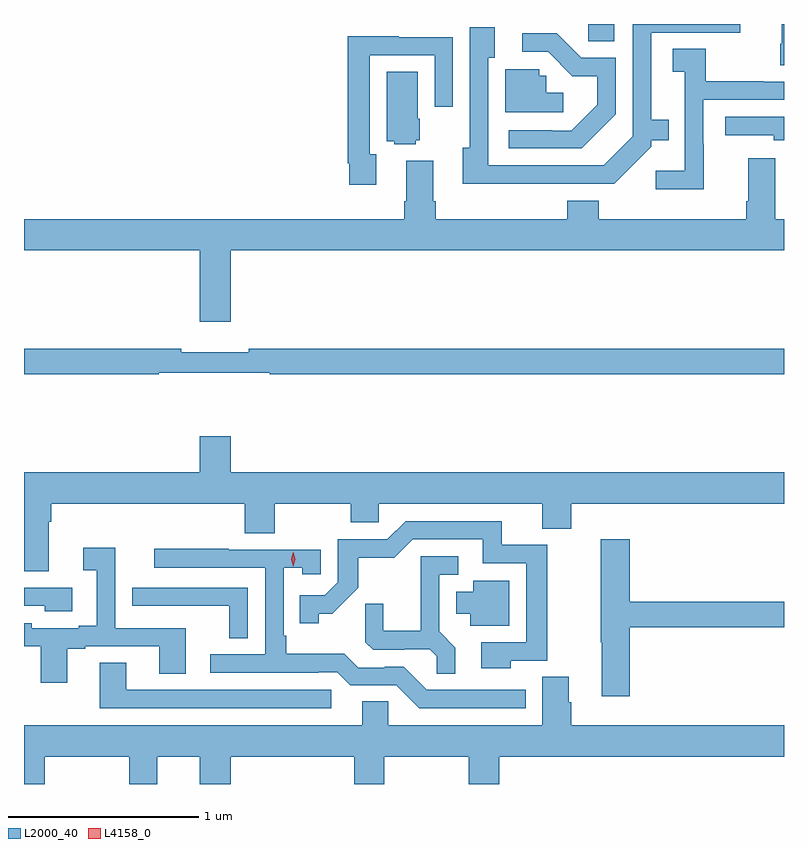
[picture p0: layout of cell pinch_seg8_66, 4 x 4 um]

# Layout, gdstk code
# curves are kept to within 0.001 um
import gdstk
lib = gdstk.Library(unit=1e-6, precision=1e-09)
def R(c, l, rs):  # rectangles x0, y0, x1, y1
    for r in rs: c.add(gdstk.rectangle(r[:2], r[2:], *l))
def P(c, l, *ps):  # polygons
    for p in ps: c.add(gdstk.Polygon(p, *l))
L2000_40 = (2000, 40)
L4158_0 = (4158, 0)

pinch_seg8_66 = lib.new_cell('pinch_seg8_66')
R(pinch_seg8_66, L2000_40, [(898.321,1120.264,898.459,1120.356)])
P(pinch_seg8_66, L2000_40, [(898.127,1119.516),(898.458,1119.516),(898.653,1119.711),(898.653,1119.743),(898.745,1119.743),(898.745,1119.853),(898.654,1119.853),(898.654,1120.311),(899.122,1120.311),(899.122,1120.356),(898.557,1120.356),(898.557,1119.765),(898.404,1119.612),(897.795,1119.612),(897.795,1120.178),(897.829,1120.178),(897.829,1120.339),(897.699,1120.339),(897.699,1119.706),(897.662,1119.706),(897.662,1119.515)],
  [(899.352,1120.356),(899.339,1120.356),(899.339,1120.252),(899.332,1120.252),(899.332,1120.14),(899.352,1120.14)],
  [(898.467,1119.881),(898.467,1120.179),(898.284,1120.179),(898.156,1120.307),(897.975,1120.307),(897.975,1120.209),(898.11,1120.209),(898.237,1120.082),(898.37,1120.082),(898.37,1119.932),(898.233,1119.795),(898.133,1119.795),(898.133,1119.798),(897.903,1119.798),(897.903,1119.702),(898.288,1119.702)],
  [(897.205,1119.671),(897.171,1119.671),(897.171,1120.191),(897.513,1120.191),(897.513,1119.921),(897.609,1119.921),(897.609,1120.287),(897.325,1120.287),(897.325,1120.291),(897.055,1120.291),(897.055,1119.622),(897.063,1119.622),(897.063,1119.51),(897.205,1119.51)],
  [(898.929,1119.725),(898.926,1119.725),(898.926,1119.957),(899.352,1119.957),(899.352,1120.053),(899.243,1120.053),(899.243,1120.056),(898.939,1120.056),(898.939,1120.226),(898.767,1120.226),(898.767,1120.105),(898.83,1120.105),(898.83,1119.583),(898.677,1119.583),(898.677,1119.485),(898.929,1119.485)],
  [(898.189,1119.994),(898.101,1119.994),(898.101,1120.083),(898.065,1120.083),(898.065,1120.119),(897.884,1120.119),(897.884,1119.891),(898.189,1119.891)],
  [(897.414,1119.744),(897.436,1119.744),(897.436,1119.858),(897.424,1119.858),(897.424,1120.106),(897.26,1120.106),(897.26,1119.74),(897.3,1119.74),(897.3,1119.722),(897.414,1119.722)],
  [(899.352,1119.867),(899.043,1119.867),(899.043,1119.771),(899.298,1119.771),(899.298,1119.744),(899.352,1119.744)],
  [(896.44,1119.164),(899.352,1119.164),(899.352,1119.328),(899.305,1119.328),(899.305,1119.649),(899.165,1119.649),(899.165,1119.424),(899.153,1119.424),(899.153,1119.328),(898.376,1119.328),(898.376,1119.427),(898.211,1119.427),(898.211,1119.328),(897.518,1119.328),(897.518,1119.424),(897.505,1119.424),(897.505,1119.637),(897.365,1119.637),(897.365,1119.424),(897.353,1119.424),(897.353,1119.328),(895.352,1119.328),(895.352,1119.164),(896.276,1119.164),(896.276,1118.79),(896.44,1118.79)],
  [(896.06,1118.52),(896.645,1118.52),(896.645,1118.512),(899.352,1118.512),(899.352,1118.648),(896.536,1118.648),(896.536,1118.629),(896.18,1118.629),(896.18,1118.648),(895.352,1118.648),(895.352,1118.512),(896.06,1118.512)],
  [(896.44,1118.185),(896.276,1118.185),(896.276,1117.996),(895.352,1117.996),(895.352,1117.476),(895.483,1117.476),(895.483,1117.736),(895.496,1117.736),(895.496,1117.832),(896.513,1117.832),(896.513,1117.675),(896.673,1117.675),(896.673,1117.832),(897.073,1117.832),(897.073,1117.734),(897.219,1117.734),(897.219,1117.832),(898.079,1117.832),(898.079,1117.699),(898.232,1117.699),(898.232,1117.832),(899.352,1117.832),(899.352,1117.996),(896.44,1117.996)],
  [(897.915,1117.005),(898.105,1117.005),(898.105,1117.614),(897.866,1117.614),(897.866,1117.74),(897.36,1117.74),(897.264,1117.644),(897.003,1117.644),(897.003,1117.419),(896.934,1117.35),(896.803,1117.35),(896.803,1117.203),(896.904,1117.203),(896.904,1117.253),(896.974,1117.253),(897.112,1117.39),(897.112,1117.546),(897.301,1117.546),(897.399,1117.644),(897.767,1117.644),(897.767,1117.518),(897.996,1117.518),(897.996,1117.101),(897.759,1117.101),(897.759,1116.965),(897.915,1116.965)],
  [(898.541,1117.18),(899.352,1117.18),(899.352,1117.316),(898.541,1117.316),(898.541,1117.645),(898.387,1117.645),(898.387,1117.103),(898.394,1117.103),(898.394,1116.819),(898.541,1116.819)],
  [(895.579,1117.068),(895.675,1117.068),(895.675,1117.08),(896.063,1117.08),(896.063,1116.937),(896.203,1116.937),(896.203,1117.176),(895.833,1117.176),(895.833,1117.6),(895.665,1117.6),(895.665,1117.48),(895.736,1117.48),(895.736,1117.189),(895.64,1117.189),(895.64,1117.176),(895.392,1117.176),(895.392,1117.203),(895.352,1117.203),(895.352,1117.08),(895.439,1117.08),(895.439,1116.888),(895.579,1116.888)],
  [(897.994,1116.852),(897.471,1116.852),(897.351,1116.972),(897.25,1116.972),(897.25,1116.969),(897.111,1116.969),(897.038,1117.042),(896.731,1117.042),(896.731,1117.135),(896.718,1117.135),(896.718,1117.493),(896.817,1117.493),(896.817,1117.461),(896.913,1117.461),(896.913,1117.59),(896.429,1117.59),(896.429,1117.593),(896.037,1117.593),(896.037,1117.494),(896.622,1117.494),(896.622,1117.038),(896.331,1117.038),(896.331,1116.942),(896.9,1116.942),(896.9,1116.945),(897,1116.945),(897.069,1116.876),(897.312,1116.876),(897.432,1116.756),(897.994,1116.756)],
  [(897.623,1117.073),(897.537,1117.159),(897.537,1117.458),(897.637,1117.458),(897.637,1117.554),(897.44,1117.554),(897.44,1117.162),(897.242,1117.162),(897.242,1117.305),(897.148,1117.305),(897.148,1117.103),(897.189,1117.062),(897.354,1117.062),(897.354,1117.065),(897.488,1117.065),(897.525,1117.028),(897.525,1116.937),(897.623,1116.937)],
  [(897.907,1117.426),(897.716,1117.426),(897.716,1117.369),(897.626,1117.369),(897.626,1117.253),(897.701,1117.253),(897.701,1117.19),(897.907,1117.19)],
  [(895.606,1117.389),(895.352,1117.389),(895.352,1117.293),(895.461,1117.293),(895.461,1117.265),(895.606,1117.265)],
  [(896.529,1117.389),(895.923,1117.389),(895.923,1117.294),(896.035,1117.294),(896.035,1117.293),(896.431,1117.293),(896.431,1117.123),(896.529,1117.123)],
  [(896.968,1116.852),(895.891,1116.852),(895.891,1116.995),(895.751,1116.995),(895.751,1116.756),(896.968,1116.756)],
  [(895.461,1116.5),(895.906,1116.5),(895.906,1116.356),(896.053,1116.356),(896.053,1116.5),(896.276,1116.5),(896.276,1116.356),(896.44,1116.356),(896.44,1116.5),(897.089,1116.5),(897.089,1116.356),(897.249,1116.356),(897.249,1116.5),(897.694,1116.5),(897.694,1116.356),(897.854,1116.356),(897.854,1116.5),(899.352,1116.5),(899.352,1116.664),(898.232,1116.664),(898.232,1116.786),(898.219,1116.786),(898.219,1116.92),(898.079,1116.92),(898.079,1116.664),(897.27,1116.664),(897.27,1116.791),(897.131,1116.791),(897.131,1116.664),(895.352,1116.664),(895.352,1116.356),(895.461,1116.356)])
P(pinch_seg8_66, L4158_0, [(896.77,1117.503),(896.77,1117.503),(896.759,1117.538),(896.768,1117.575),(896.768,1117.575),(896.768,1117.575),(896.779,1117.539),(896.77,1117.503)])

lib.write_gds('pinch_seg8_66.gds')
